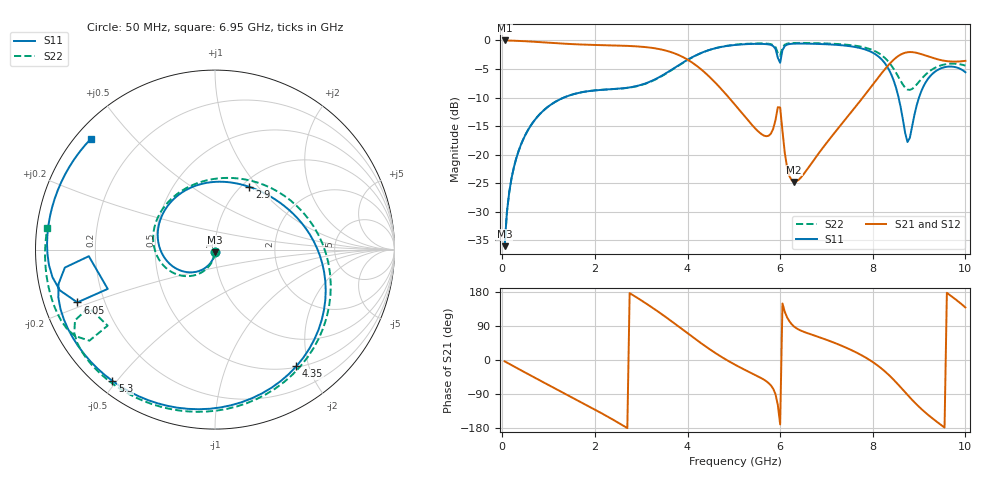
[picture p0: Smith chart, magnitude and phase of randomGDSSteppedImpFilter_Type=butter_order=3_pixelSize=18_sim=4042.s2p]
! freq	dB(S11)	phase(S11)	dB(S12)	phase(S12)
!  dB(S21)	phase(S21)	dB(S22)	phase(S22)
!S-par simulation data
#  GHz  S  DB  R 50
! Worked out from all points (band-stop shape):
!   200 points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, 50 MHz to 10 GHz, reference 50 ohm
!   highest |S21| = -0.01 dB at 50 MHz (marker M1); lowest = -24.8 dB at 6.3 GHz (marker M2)
!   |S21| within 3 dB of the highest: start of sweep to 3.922 GHz; 8.505 GHz to 9.272 GHz (766.7 MHz wide, 8.63 % of centre)
!   lowest |S11| = -36.0 dB at 50 MHz (marker M3), VSWR 1.03, Z = 49.9 - j1.57 ohm
!   |S11| at or under -10 dB: start of sweep to 1.333 GHz; 8.557 GHz to 8.998 GHz (441.1 MHz wide, 5.03 % of centre)
!   |S22| runs from -36.0 to -0.4 dB; largest |S21 - S12| = 0
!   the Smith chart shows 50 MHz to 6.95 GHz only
!   S11 on the Smith chart (normalised r, x): 50 MHz: 1.00, -0.03; 2.9 GHz: 1.08, +0.90; 4.35 GHz: 0.51, -1.80; 5.3 GHz: 0.05, -0.49; 6.05 GHz: 0.10, -0.18; 6.95 GHz: 0.04, +0.38
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0.05  -36.03 -93.3  -0.01 -3.4  -0.01 -3.4  -36.00 -92.5
0.2  -24.12 -104.7  -0.04 -13.5  -0.04 -13.5  -24.11 -102.3
0.5  -16.52 -126.8  -0.15 -33.4  -0.15 -33.4  -16.51 -120.9
1.15  -10.73 -173.2  -0.48 -75.7  -0.48 -75.7  -10.72 -159.3
1.75  -9.03 144.3  -0.73 -114.4  -0.73 -114.4  -9.02 165.9
2.9  -7.99 61.3  -1.05 165.2  -1.05 165.2  -8.03 88.0
3.4  -6.39 24.5  -1.54 124.6  -1.54 124.6  -6.46 42.9
4.35  -2.02 -55.1  -5.46 39.3  -5.46 39.3  -2.03 -49.5
5.05  -0.78 -110.6  -11.51 -14.1  -11.51 -14.1  -0.74 -102.7
5.3  -0.64 -128.0  -13.93 -29.8  -13.93 -29.8  -0.59 -117.8
5.75  -0.70 -158.9  -16.70 -60.8  -16.70 -60.8  -0.59 -142.8
5.95  -3.05 -177.0  -11.70 -119.0  -11.70 -119.0  -2.22 -155.4
6.05  -1.71 -159.0  -15.86 149.3  -15.86 149.3  -1.27 -144.1
6.3  -0.57 178.1  -24.78 88.4  -24.78 88.4  -0.45 -160.4
6.7  -0.59 153.3  -21.26 66.2  -21.26 66.2  -0.47 -177.5
6.95  -0.66 138.2  -18.50 55.6  -18.50 55.6  -0.52 172.7
7.75  -1.39 82.5  -10.38 13.1  -10.38 13.1  -1.11 139.6
8.35  -5.14 14.5  -4.22 -39.9  -4.22 -39.9  -3.84 109.8
8.75  -17.79 -116.2  -2.08 -92.1  -2.08 -92.1  -8.61 117.8
8.95  -11.31 146.4  -2.18 -117.7  -2.18 -117.7  -7.70 133.0
9.45  -4.97 69.9  -3.42 -169.2  -3.42 -169.2  -4.43 124.3
10  -5.58 -0.1  -3.58 138.7  -3.58 138.7  -4.41 104.0
